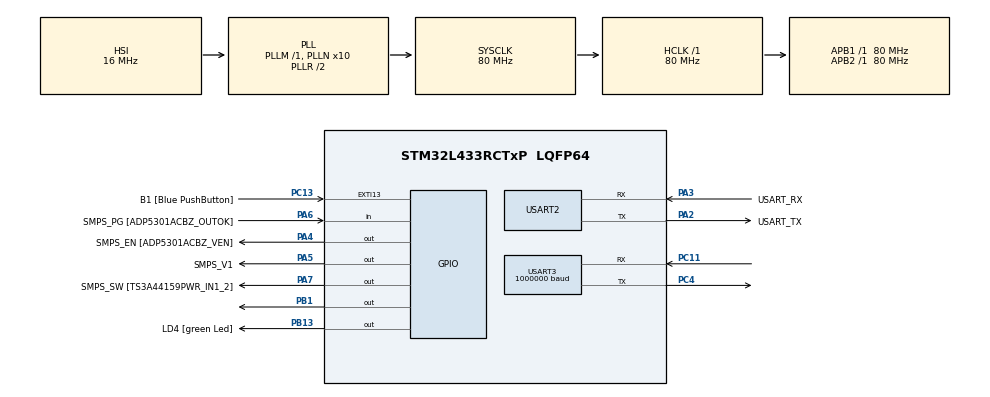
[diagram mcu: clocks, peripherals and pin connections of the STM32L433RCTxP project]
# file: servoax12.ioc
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Mcu.Family=STM32L4
Mcu.Name=STM32L433RCTxP
Mcu.Package=LQFP64
NVIC.PriorityGroup=NVIC_PRIORITYGROUP_4
NVIC.USART2_IRQn=true\:0\:0\:false\:false\:true\:true\:true
NVIC.USART3_IRQn=true\:0\:0\:false\:false\:true\:true\:true
PA13\ (JTMS-SWDIO).GPIO_Label=TMS
PA13\ (JTMS-SWDIO).Mode=Serial_Wire
PA13\ (JTMS-SWDIO).Signal=SYS_JTMS-SWDIO
PA14\ (JTCK-SWCLK).GPIO_Label=TCK
PA14\ (JTCK-SWCLK).Mode=Serial_Wire
PA14\ (JTCK-SWCLK).Signal=SYS_JTCK-SWCLK
PA2.GPIO_Label=USART_TX
PA2.GPIO_Mode=GPIO_MODE_AF_PP
PA2.GPIO_PuPd=GPIO_NOPULL
PA2.GPIO_Speed=GPIO_SPEED_FREQ_VERY_HIGH
PA2.Mode=Asynchronous
PA2.Signal=USART2_TX
PA3.GPIO_Label=USART_RX
PA3.GPIO_Mode=GPIO_MODE_AF_PP
PA3.GPIO_PuPd=GPIO_NOPULL
PA3.GPIO_Speed=GPIO_SPEED_FREQ_VERY_HIGH
PA3.Mode=Asynchronous
PA3.Signal=USART2_RX
PA4.GPIO_Label=SMPS_EN [ADP5301ACBZ_VEN]
PA4.Signal=GPIO_Output
PA5.GPIO_Label=SMPS_V1
PA5.GPIO_ModeDefaultOutputPP=GPIO_MODE_OUTPUT_PP
PA5.GPIO_PuPd=GPIO_NOPULL
PA5.GPIO_Speed=GPIO_SPEED_FREQ_LOW
PA5.Signal=GPIO_Output
PA6.GPIO_Label=SMPS_PG [ADP5301ACBZ_OUTOK]
PA6.GPIO_PuPd=GPIO_PULLUP
PA6.Signal=GPIO_Input
PA7.GPIO_Label=SMPS_SW [TS3A44159PWR_IN1_2]
PA7.Signal=GPIO_Output
PB1.Signal=GPIO_Output
PB13.GPIO_Label=LD4 [green Led]
PB13.Signal=GPIO_Output
PB3\ (JTDO-TRACESWO).GPIO_Label=SWO
PB3\ (JTDO-TRACESWO).Signal=SYS_JTDO-SWO
PC11.Mode=Asynchronous
PC11.Signal=USART3_RX
PC13.GPIO_Label=B1 [Blue PushButton]
PC13.GPIO_ModeDefaultEXTI=GPIO_MODE_IT_FALLING
PC13.GPIO_PuPd=GPIO_NOPULL
PC13.Signal=GPXTI13
PC14-OSC32_IN\ (PC14).Mode=LSE-External-Oscillator
PC14-OSC32_IN\ (PC14).Signal=RCC_OSC32_IN
PC15-OSC32_OUT\ (PC15).Mode=LSE-External-Oscillator
PC15-OSC32_OUT\ (PC15).Signal=RCC_OSC32_OUT
PC4.Mode=Asynchronous
PC4.Signal=USART3_TX
PH0-OSC_IN\ (PH0).GPIO_Label=MCO
PH0-OSC_IN\ (PH0).Mode=HSE-External-Clock-Source
PH0-OSC_IN\ (PH0).Signal=RCC_OSC_IN
PH1-OSC_OUT\ (PH1).Signal=RCC_OSC_OUT
ProjectManager.HeapSize=0x200
ProjectManager.StackSize=0x400
ProjectManager.TargetToolchain=STM32CubeIDE
RCC.ADCFreq_Value=64000000
RCC.AHBFreq_Value=80000000
RCC.APB1Freq_Value=80000000
RCC.APB1TimFreq_Value=80000000
RCC.APB2Freq_Value=80000000
RCC.APB2TimFreq_Value=80000000
RCC.CortexFreq_Value=80000000
RCC.HCLKFreq_Value=80000000
RCC.HSE_VALUE=8000000
RCC.HSI48_VALUE=48000000
RCC.HSI_VALUE=16000000
RCC.MSI_VALUE=4000000
RCC.PLLN=10
RCC.PLLSourceVirtual=RCC_PLLSOURCE_HSI
RCC.PREFETCH_ENABLE=1
RCC.SYSCLKFreq_VALUE=80000000
RCC.SYSCLKSource=RCC_SYSCLKSOURCE_PLLCLK
RCC.USBFreq_Value=64000000
RCC.VCOOutputFreq_Value=160000000
USART2.VirtualMode-Asynchronous=VM_ASYNC
USART3.BaudRate=1000000
USART3.VirtualMode-Asynchronous=VM_ASYNC
board=NUCLEO-L433RC-P

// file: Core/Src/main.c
/* USER CODE BEGIN Header */
/**
  ******************************************************************************
  * @file           : main.c
  * @brief          : Main program body
  ******************************************************************************
  * @attention
  *
  * <h2><center>&copy; Copyright (c) 2021 STMicroelectronics.
  * All rights reserved.</center></h2>
  *
  * This software component is licensed by ST under BSD 3-Clause license,
  * the "License"; You may not use this file except in compliance with the
  * License. You may obtain a copy of the License at:
  *                        opensource.org/licenses/BSD-3-Clause
  *
  ******************************************************************************
  */
/* USER CODE END Header */
#include "main.h"

#define REC_WAIT_START_US    75
#define REC_WAIT_PARAMS_US   (SERVO_MAX_PARAMS * 5)
#define REC_WAIT_MAX_RETRIES 200
#define SERVO_MAX_PARAMS (REC_BUFFER_LEN - 5)

volatile uint8_t receiveBuffer[REC_BUFFER_LEN];
volatile uint8_t* volatile receiveBufferStart = receiveBuffer;
volatile uint8_t* volatile receiveBufferEnd = receiveBuffer;

/* USER CODE BEGIN Includes */
uint8_t Buffer[10];
/* USER CODE END Includes */

UART_HandleTypeDef huart2;
UART_HandleTypeDef huart3;

void SystemClock_Config(void);
static void MX_GPIO_Init(void);
static void MX_USART2_UART_Init(void);
static void MX_USART3_UART_Init(void);
/* USER CODE BEGIN PFP */
size_t getServoBytesAvailable (void);
uint8_t getServoByte (void);
uint8_t getServoAngle ( uint8_t ID,  uint16_t* angleValue);
uint8_t getServoResponse (void);
uint8_t setServoAngle( uint8_t ID,uint8_t angle);
/* USER CODE END PFP */

/* USER CODE BEGIN 0 */
typedef enum ServoCommand
{
    PING = 1,
    READ = 2,
    WRITE = 3
} ServoCommand;

typedef struct ServoResponse
{
    uint8_t id;
    uint8_t length;
    uint8_t error;
    uint8_t params[SERVO_MAX_PARAMS];
    uint8_t checksum;
} ServoResponse;

ServoResponse response;
uint8_t servoErrorCode = 0;
/* USER CODE END 0 */

int main(void)
{
  /* USER CODE BEGIN 1 */
	uint16_t angle=512;
	uint16_t delta=10;
  /* USER CODE END 1 */

  /* MCU Configuration--------------------------------------------------------*/

  /* Reset of all peripherals, Initializes the Flash interface and the Systick. */
  HAL_Init();

  /* Configure the system clock */
  SystemClock_Config();

  /* Initialize all configured peripherals */
  MX_GPIO_Init();
  MX_USART2_UART_Init();
  MX_USART3_UART_Init();
  /* USER CODE BEGIN 2 */
  Buffer[0]='U';

  /* USER CODE END 2 */
 // HAL_StatusTypeDef
//  HAL_UART_Transmit(UART_HandleTypeDef *huart, uint8_t *pData, uint16_t Size, uint32_t Timeout);
//  HAL_UART_Transmit(&huart3, Buffer, 1, 100);

//  HAL_StatusTypeDef HAL_UART_Receive(UART_HandleTypeDef *huart, uint8_t *pData, uint16_t Size, uint32_t Timeout);

  /* Infinite loop */
  /* USER CODE BEGIN WHILE */
//  setAngleLimit(4, 0, 1023);
//  setServoAngle(4, angle);
  reset(4);
  //turn(4, RIGHT,80);
  while (1)
  {
    /* USER CODE END WHILE */
   if (angle>700)
   {
	   angle=700;
	 delta=-5;
   }
   if (angle<200){
	   angle=200;
	   delta=+5;
   }
    /* USER CODE BEGIN 3 */
	  HAL_Delay (20); /* Insert delay 100 ms */
	 // getServoAngle(4, &angle);
	move(2, angle);
	angle+=delta;
	//  setAngleLimit(4, 0, 1023);
	//  readPosition(4);

	// turn(4, RIGHT,00);

  }
  /* USER CODE END 3 */

}

void clearServoReceiveBuffer (void)
{
    receiveBufferStart = receiveBufferEnd;
}

uint8_t getAndCheckResponse (const uint8_t servoId)
{
    if (!getServoResponse())
    {
        #ifdef SERVO_DEBUG
        printf ("Servo error: Servo %d did not respond correctly or at all\n", (int)servoId);
        #endif
        return 0;
    }

    if (response.id != servoId)
    {
        #ifdef SERVO_DEBUG
        printf ("Servo error: Response ID %d does not match command ID %d\n", (int)response.id);
        #endif
        return 0;
    }

    if (response.error != 0)
    {
        #ifdef SERVO_DEBUG
        printf ("Servo error: Response error code was nonzero (%d)\n", (int)response.error);
        #endif
        return 0;
    }

    return 1;
}

uint8_t getServoResponse (void)
{
    uint8_t retries = 0;

    clearServoReceiveBuffer();

    while (getServoBytesAvailable() < 4)
    {
        retries++;
        if (retries > REC_WAIT_MAX_RETRIES)
        {
            #ifdef SERVO_DEBUG
            printf ("Too many retries at start\n");
            #endif
            return 0;
        }

     //   mWaitus (REC_WAIT_START_US);
    }
    retries = 0;

    getServoByte();  // servo header (two 0xff bytes)
    getServoByte();

    response.id = getServoByte();
    response.length = getServoByte();

    if (response.length > SERVO_MAX_PARAMS)
    {
        #ifdef SERVO_DEBUG
        printf ("Response length too big: %d\n", (int)response.length);
        #endif
        return 0;
    }

    while (getServoBytesAvailable() < response.length)
    {
        retries++;
        if (retries > REC_WAIT_MAX_RETRIES)
        {
            #ifdef SERVO_DEBUG
            printf ("Too many retries waiting for params, got %d of %d params\n", getServoBytesAvailable(), response.length);
            #endif
            return 0;
        }

     //   mWaitus (REC_WAIT_PARAMS_US);
    }

    response.error = getServoByte();
    servoErrorCode = response.error;

    for (uint8_t i = 0; i < response.length - 2; i++)
        response.params[i] = getServoByte();

    uint8_t calcChecksum = response.id + response.length + response.error;
    for (uint8_t i = 0; i < response.length - 2; i++)
        calcChecksum += response.params[i];
    calcChecksum = ~calcChecksum;

    const uint8_t recChecksum = getServoByte();
    if (calcChecksum != recChecksum)
    {
        #ifdef SERVO_DEBUG
        printf ("Checksum mismatch: %x calculated, %x received\n", calcChecksum, recChecksum);
        #endif
        return 0;
    }

    return 1;
}

/*--------------------------------------*/

int setAngleLimit(uint8_t ID, uint16_t CWLimit, uint16_t CCWLimit)
{
  const uint8_t length = 8;
		uint8_t packet[length];
		uint8_t Checksum;
    //  uint8_t packet[9];

		uint8_t pdata[8];
		HAL_StatusTypeDef val;

	uint8_t CW_H,CW_L,CCW_H,CCW_L;
    CW_H = CWLimit >> 8;
    CW_L = CWLimit;                // 16 bits - 2 x 8 bits variables
    CCW_H = CCWLimit >> 8;
    CCW_L = CCWLimit;

	Checksum = (~(ID + AX_CCW_CW_LENGTH + AX_WRITE_DATA + AX_CW_ANGLE_LIMIT_L + CW_H + CW_L + AX_CCW_ANGLE_LIMIT_L + CCW_H + CCW_L)) & 0xFF;

	packet[0] = AX_START;
	packet[1] = AX_START;
	packet[2] = ID;
	packet[3] = AX_CCW_CW_LENGTH;
	packet[4] = AX_WRITE_DATA;
	packet[5] = AX_CW_ANGLE_LIMIT_L;
	packet[6] = CW_L;
	packet[7] = CW_H;
	packet[8] = AX_CCW_ANGLE_LIMIT_L;
	packet[9] = CCW_L;
	packet[10] = CCW_H;
	packet[11] = Checksum;

	val=HAL_UART_Receive(&huart3, pdata, 2, 100);
	    //return (sendAXPacket(packet, length));
	    HAL_GPIO_WritePin(GPIOB, GPIO_PIN_1, GPIO_PIN_RESET);//passer en mode transmission
	    HAL_UART_Transmit(&huart3, packet, 12, 100);
	    HAL_GPIO_WritePin(GPIOB, GPIO_PIN_1, GPIO_PIN_SET);
	    val=HAL_UART_Receive(&huart3, pdata, 8, 100);
	    return 1;
}

uint8_t getServoByte (void)
{
    receiveBufferStart++;
    if (receiveBufferStart >= receiveBuffer + REC_BUFFER_LEN)
        receiveBufferStart = receiveBuffer;

    return *receiveBufferStart;

}

size_t getServoBytesAvailable (void)
{
    volatile uint8_t *start = receiveBufferStart;
    volatile uint8_t *end = receiveBufferEnd;

    if (end >= start)
        return (size_t)(end - start);
    else
        return (size_t)(REC_BUFFER_LEN - (start - end));
}

/*---------------------------------------------------------*/
void turn(uint8_t ID, uint8_t SIDE, uint16_t Speed)
{
	uint8_t Checksum;
	uint8_t packet[9];
	HAL_StatusTypeDef val;
	uint8_t pdata[8];
		if (SIDE == LEFT)
		{
			int Speed_H,Speed_L;
			Speed_H = Speed >> 8;
			Speed_L = Speed;                     // 16 bits - 2 x 8 bits variables

			//const unsigned int length = 9;
			//unsigned char packet[length];

			Checksum = (~(ID + AX_SPEED_LENGTH + AX_WRITE_DATA + AX_GOAL_SPEED_L + Speed_L + Speed_H)) & 0xFF;

		    packet[0] = AX_START;
		    packet[1] = AX_START;
		    packet[2] = ID;
		    packet[3] = AX_SPEED_LENGTH;
		    packet[4] = AX_WRITE_DATA;
		    packet[5] = AX_GOAL_SPEED_L;
		    packet[6] = Speed_L;
		    packet[7] = Speed_H;
		    packet[8] = Checksum;

		    //return (sendAXPacket(packet, length));
		}

		else
		{
			char Speed_H,Speed_L;
			Speed_H = (Speed >> 8) + 4;
			Speed_L = Speed;                     // 16 bits - 2 x 8 bits variables

		//	const unsigned int length = 9;

			Checksum = (~(ID + AX_SPEED_LENGTH + AX_WRITE_DATA + AX_GOAL_SPEED_L + Speed_L + Speed_H)) & 0xFF;

		    packet[0] = AX_START;
		    packet[1] = AX_START;
		    packet[2] = ID;
		    packet[3] = AX_SPEED_LENGTH;
		    packet[4] = AX_WRITE_DATA;
		    packet[5] = AX_GOAL_SPEED_L;
		    packet[6] = Speed_L;
		    packet[7] = Speed_H;
		    packet[8] = Checksum;

		    //return (sendAXPacket(packet, length));
		}
		val=HAL_UART_Receive(&huart3, pdata, 2, 100);
		  HAL_GPIO_WritePin(GPIOB, GPIO_PIN_1, GPIO_PIN_RESET);//passer en mode transmission
		  HAL_UART_Transmit(&huart3, packet, 9, 100);
		  HAL_GPIO_WritePin(GPIOB, GPIO_PIN_1, GPIO_PIN_SET); //passer en mode réception
		  val=HAL_UART_Receive(&huart3, pdata, 6, 100);

}

int readPosition(uint8_t ID)
{
	const uint8_t length = 8;
	uint8_t packet[length];
	uint8_t Checksum;
//	uint8_t packet[9];
    uint8_t Position_H,Position_L;
	uint8_t pdata[8];
	HAL_StatusTypeDef val;

    Checksum = (~(ID + AX_POS_LENGTH + AX_READ_DATA + AX_PRESENT_POSITION_L + AX_BYTE_READ_POS)) & 0xFF;

	packet[0] = AX_START;
	packet[1] = AX_START;
	packet[2] = ID;
	packet[3] = AX_POS_LENGTH;
	packet[4] = AX_READ_DATA;
	packet[5] = AX_PRESENT_POSITION_L;
	packet[6] = AX_BYTE_READ_POS;
	packet[7] = Checksum;

    val=HAL_UART_Receive(&huart3, pdata, 2, 100);
    //return (sendAXPacket(packet, length));
    HAL_GPIO_WritePin(GPIOB, GPIO_PIN_1, GPIO_PIN_RESET);//passer en mode transmission
    HAL_UART_Transmit(&huart3, packet, 8, 100);
    HAL_GPIO_WritePin(GPIOB, GPIO_PIN_1, GPIO_PIN_SET);
    val=HAL_UART_Receive(&huart3, pdata, 8, 100);
    return 1;
}

/*----------------------------------------------------------------*/

void move(uint8_t ID, uint16_t Position)
{
	uint8_t Checksum;
	uint8_t packet[9];
    uint8_t Position_H,Position_L;
	uint8_t pdata[8];
	HAL_StatusTypeDef val;

    Position_H = Position >> 8;           // 16 bits - 2 x 8 bits variables
    Position_L = Position;
    //unsigned char packet[length];

	Checksum = (~(ID + AX_GOAL_LENGTH + AX_WRITE_DATA + AX_GOAL_POSITION_L + Position_L + Position_H)) & 0xFF;

    packet[0] = AX_START;
    packet[1] = AX_START;
    packet[2] = ID;
    packet[3] = AX_GOAL_LENGTH;
    packet[4] = AX_WRITE_DATA;
    packet[5] = AX_GOAL_POSITION_L;
    packet[6] = Position_L;
    packet[7] = Position_H;
    packet[8] = Checksum;

    val=HAL_UART_Receive(&huart3, pdata, 2, 100);
    //return (sendAXPacket(packet, length));
    HAL_GPIO_WritePin(GPIOB, GPIO_PIN_1, GPIO_PIN_RESET);//passer en mode transmission
    HAL_UART_Transmit(&huart3, packet, 9, 100);
    HAL_GPIO_WritePin(GPIOB, GPIO_PIN_1, GPIO_PIN_SET);
    val=HAL_UART_Receive(&huart3, pdata, 6, 100);
    return ;
}

/*----------------------------------------------------------------*/

int reset(uint8_t ID)
{
	uint8_t Checksum;
		HAL_StatusTypeDef val;
		uint8_t packet[11];
	    uint8_t Position_H,Position_L,Speed_H,Speed_L;
		uint8_t pdata[6];

	Checksum = (~(ID + AX_RESET_LENGTH + AX_RESET)) & 0xFF;

	packet[0] = AX_START;
	packet[1] = AX_START;
	packet[2] = ID;
	packet[3] = AX_RESET_LENGTH;
	packet[4] = AX_RESET;
	packet[5] = Checksum;

	val=HAL_UART_Receive(&huart3, pdata, 2, 100);
	    //return (sendAXPacket(packet, length));
	    HAL_GPIO_WritePin(GPIOB, GPIO_PIN_1, GPIO_PIN_RESET);//passer en mode transmission
	    HAL_UART_Transmit(&huart3, packet, 8, 100);
	    HAL_GPIO_WritePin(GPIOB, GPIO_PIN_1, GPIO_PIN_SET);
	    val=HAL_UART_Receive(&huart3, pdata, 8, 100);
	    return 1;
}

/*--------------------------------*/

void moveSpeed(uint8_t ID, int Position, int Speed)
{
	uint8_t Checksum;
	HAL_StatusTypeDef val;
	uint8_t packet[11];
    char Position_H,Position_L,Speed_H,Speed_L;
	uint8_t pdata[8];

    Position_H = Position >> 8;           // 16 bits - 2 x 8 bits variables
    Position_L = Position;
    Speed_H = Speed >> 8;           // 16 bits - 2 x 8 bits variables
    Speed_L = Speed;

    //unsigned char packet[length];

	Checksum = (~(ID + AX_GOAL_LENGTH + AX_WRITE_DATA + AX_GOAL_POSITION_L + Position_L + Position_H + Speed_L + Speed_H)) & 0xFF;

    packet[0] = AX_START;
    packet[1] = AX_START;
    packet[2] = ID;
    packet[3] = AX_GOAL_LENGTH;
    packet[4] = AX_WRITE_DATA;
    packet[5] = AX_GOAL_POSITION_L;
    packet[6] = Position_L;
    packet[7] = Position_H;
    packet[8] = Speed_L;
    packet[9] = Speed_H;
    packet[10] = Checksum;

    //return (sendAXPacket(packet, length));
    HAL_GPIO_WritePin(GPIOB, GPIO_PIN_1, GPIO_PIN_RESET);//passer en mode transmission
    HAL_UART_Transmit(&huart3, packet, 9, 100);
    HAL_GPIO_WritePin(GPIOB, GPIO_PIN_1, GPIO_PIN_SET);
    val=HAL_UART_Receive(&huart3, pdata, 6, 100);
}

void changeBaudRate(){
	uint8_t Checksum;
	HAL_StatusTypeDef val;
	uint8_t pdata[8];
//	Checksum = (~(ID +  AX_ACTION + GOAL_ANGLE + lowByte + highByte)) & 0xFF;

  /*  uint8_t params[8] = {AX_START,AX_START,ID,AX_ACTION,GOAL_ANGLE,
                               lowByte,
                               highByte,
							   Checksum};*/
	uint8_t params[11]={0xFF,0xFF,4,7,3,0x1E,0,2,0,2,0xCF};
//	uint8_t params[11]={0xFF,0xFF,4,7,3,0x1A,1,1,0x40,0x40,0x55};
    val=HAL_UART_Receive(&huart3, pdata, 2, 100);
    HAL_GPIO_WritePin(GPIOB, GPIO_PIN_1, GPIO_PIN_RESET);//passer en mode transmission
    HAL_UART_Transmit(&huart3, params, 11, 100);
    HAL_GPIO_WritePin(GPIOB, GPIO_PIN_1, GPIO_PIN_SET);
 //   HAL_StatusTypeDef HAL_UART_Receive(UART_HandleTypeDef *huart, uint8_t *pData, uint16_t Size, uint32_t Timeout)
    val=HAL_UART_Receive(&huart3, pdata, 6, 100);

    return 1;
}

/*----------------------------------------------*/
uint8_t setServoAngle( uint8_t ID,uint8_t angle)
{
	uint8_t Checksum;
	HAL_StatusTypeDef val;
	uint8_t pdata[8];

 //   if (angle < 0 || angle > 300)
 //       return 0;

    // angle values go from 0 to 0x3ff (1023)
    const uint16_t angleValue = (uint16_t)(angle * (1023.0 / 300.0));

    const uint8_t highByte = (uint8_t)((angleValue >> 8) & 0xff);
    const uint8_t lowByte = (uint8_t)(angleValue & 0xff);
	Checksum = (~(ID +  AX_WRITE_DATA +4+ GOAL_ANGLE + lowByte + highByte));

   uint8_t params[9] = {AX_START,AX_START,ID,AX_WRITE_DATA,4,GOAL_ANGLE,
                               lowByte,
                               highByte,
							   Checksum};
//   uint8_t params[9]={0xFF,0xFF,4,5,4,0x1E,0xFF,3,0xD2};
//   >[Dynamixel]:FF FF 01 05 04 1E FF 03 D5 (LEN:009)
//	uint8_t params[11]={0xFF,0xFF,4,7,3,e,0,2,0xCF}; //rotation
//	uint8_t params[11]={0xFF,0xFF,4,7,3,0x1A,1,1,0x40,0x40,0x55};
    val=HAL_UART_Receive(&huart3, pdata, 4, 100);
    HAL_GPIO_WritePin(GPIOB, GPIO_PIN_1, GPIO_PIN_RESET);//passer en mode transmission
    HAL_UART_Transmit(&huart3, params, 9, 100);
    HAL_GPIO_WritePin(GPIOB, GPIO_PIN_1, GPIO_PIN_SET);
 //   HAL_StatusTypeDef HAL_UART_Receive(UART_HandleTypeDef *huart, uint8_t *pData, uint16_t Size, uint32_t Timeout)
    val=HAL_UART_Receive(&huart3, pdata, 6, 100);

    return 1;
}
/*---------------------------------*/
uint8_t getServoAngle ( uint8_t ID,  uint16_t* angleValue)
{
	uint8_t retour;
    const uint8_t params[2] = {CURRENT_ANGLE,
                               4};  // read two bytes, starting at address CURRENT_ANGLE

    HAL_GPIO_WritePin(GPIOB, GPIO_PIN_1, GPIO_PIN_RESET);//passer en mode transmission
    HAL_UART_Transmit(&huart3, params, 2, 100);
    HAL_GPIO_WritePin(GPIOB, GPIO_PIN_1, GPIO_PIN_SET);

    if (!getAndCheckResponse (ID))
    	retour=0;
         return retour;

     //uint16_t
         retour=1;
    *angleValue = response.params[1];
     *angleValue <<= 8;
     *angleValue |= response.params[0];

 //    *angle = (float)angleValue * 300.0 / 1023.0;

/*
    uint16_t angleValue = response.params[1];
    angleValue <<= 8;
    angleValue |= response.params[0];

    *angle = (float)angleValue * 300.0 / 1023.0;
*/
    return retour;
}
/*-------------------------------------------------------------------------------*/
/*void sendAXPacket(uint8_t * packet, unsigned int length)
{
	switchCom(Direction_Pin, TX_MODE); 	// Switch to Transmission  Mode

	sendData(packet, length);			// Send data through sending buffer
	flush(); 							// Wait until buffer is empty

	switchCom(Direction_Pin, RX_MODE); 	// Switch back to Reception Mode

	return (read_error());              // Return the read error
}
*/
/*--------------------------------------------------------------*/
void SystemClock_Config(void)
{
  RCC_OscInitTypeDef RCC_OscInitStruct = {0};
  RCC_ClkInitTypeDef RCC_ClkInitStruct = {0};
  RCC_PeriphCLKInitTypeDef PeriphClkInit = {0};

  /** Initializes the RCC Oscillators according to the specified parameters
  * in the RCC_OscInitTypeDef structure.
  */
  RCC_OscInitStruct.OscillatorType = RCC_OSCILLATORTYPE_HSI;
  RCC_OscInitStruct.HSIState = RCC_HSI_ON;
  RCC_OscInitStruct.HSICalibrationValue = RCC_HSICALIBRATION_DEFAULT;
  RCC_OscInitStruct.PLL.PLLState = RCC_PLL_ON;
  RCC_OscInitStruct.PLL.PLLSource = RCC_PLLSOURCE_HSI;
  RCC_OscInitStruct.PLL.PLLM = 1;
  RCC_OscInitStruct.PLL.PLLN = 10;
  RCC_OscInitStruct.PLL.PLLP = RCC_PLLP_DIV7;
  RCC_OscInitStruct.PLL.PLLQ = RCC_PLLQ_DIV2;
  RCC_OscInitStruct.PLL.PLLR = RCC_PLLR_DIV2;
  if (HAL_RCC_OscConfig(&RCC_OscInitStruct) != HAL_OK)
  {
    Error_Handler();
  }
  /** Initializes the CPU, AHB and APB buses clocks
  */
  RCC_ClkInitStruct.ClockType = RCC_CLOCKTYPE_HCLK|RCC_CLOCKTYPE_SYSCLK
                              |RCC_CLOCKTYPE_PCLK1|RCC_CLOCKTYPE_PCLK2;
  RCC_ClkInitStruct.SYSCLKSource = RCC_SYSCLKSOURCE_PLLCLK;
  RCC_ClkInitStruct.AHBCLKDivider = RCC_SYSCLK_DIV1;
  RCC_ClkInitStruct.APB1CLKDivider = RCC_HCLK_DIV1;
  RCC_ClkInitStruct.APB2CLKDivider = RCC_HCLK_DIV1;

  if (HAL_RCC_ClockConfig(&RCC_ClkInitStruct, FLASH_LATENCY_4) != HAL_OK)
  {
    Error_Handler();
  }
  PeriphClkInit.PeriphClockSelection = RCC_PERIPHCLK_USART2|RCC_PERIPHCLK_USART3;
  PeriphClkInit.Usart2ClockSelection = RCC_USART2CLKSOURCE_PCLK1;
  PeriphClkInit.Usart3ClockSelection = RCC_USART3CLKSOURCE_PCLK1;
  if (HAL_RCCEx_PeriphCLKConfig(&PeriphClkInit) != HAL_OK)
  {
    Error_Handler();
  }
  /** Configure the main internal regulator output voltage
  */
  if (HAL_PWREx_ControlVoltageScaling(PWR_REGULATOR_VOLTAGE_SCALE1) != HAL_OK)
  {
    Error_Handler();
  }
}

static void MX_USART2_UART_Init(void)
{

  huart2.Instance = USART2;
  huart2.Init.BaudRate = 115200;
  huart2.Init.WordLength = UART_WORDLENGTH_8B;
  huart2.Init.StopBits = UART_STOPBITS_1;
  huart2.Init.Parity = UART_PARITY_NONE;
  huart2.Init.Mode = UART_MODE_TX_RX;
  huart2.Init.HwFlowCtl = UART_HWCONTROL_NONE;
  huart2.Init.OverSampling = UART_OVERSAMPLING_16;
  huart2.Init.OneBitSampling = UART_ONE_BIT_SAMPLE_DISABLE;
  huart2.AdvancedInit.AdvFeatureInit = UART_ADVFEATURE_NO_INIT;
  if (HAL_UART_Init(&huart2) != HAL_OK)
  {
    Error_Handler();
  }

}

static void MX_USART3_UART_Init(void)
{

  huart3.Instance = USART3;
  huart3.Init.BaudRate = 912000;
  huart3.Init.WordLength = UART_WORDLENGTH_8B;
  huart3.Init.StopBits = UART_STOPBITS_1;
  huart3.Init.Parity = UART_PARITY_NONE;
  huart3.Init.Mode = UART_MODE_TX_RX;
  huart3.Init.HwFlowCtl = UART_HWCONTROL_NONE;
  huart3.Init.OverSampling = UART_OVERSAMPLING_16;
  huart3.Init.OneBitSampling = UART_ONE_BIT_SAMPLE_DISABLE;
  huart3.AdvancedInit.AdvFeatureInit = UART_ADVFEATURE_NO_INIT;
  if (HAL_UART_Init(&huart3) != HAL_OK)
  {
    Error_Handler();
  }
  /* USER CODE BEGIN USART3_Init 2 */
//  USART3->CR1|=1<<5;
//  HAL_UART_MspInit(&huart3);
  /* USER CODE END USART3_Init 2 */

}

static void MX_GPIO_Init(void)
{
  GPIO_InitTypeDef GPIO_InitStruct = {0};

  /* GPIO Ports Clock Enable */
  __HAL_RCC_GPIOC_CLK_ENABLE();
  __HAL_RCC_GPIOH_CLK_ENABLE();
  __HAL_RCC_GPIOA_CLK_ENABLE();
  __HAL_RCC_GPIOB_CLK_ENABLE();

  /*Configure GPIO pin Output Level */
  HAL_GPIO_WritePin(GPIOA, SMPS_EN_Pin|SMPS_V1_Pin|SMPS_SW_Pin, GPIO_PIN_RESET);

  /*Configure GPIO pin Output Level */
  HAL_GPIO_WritePin(GPIOB, GPIO_PIN_1|LD4_Pin, GPIO_PIN_RESET);

  /*Configure GPIO pin : B1_Pin */
  GPIO_InitStruct.Pin = B1_Pin;
  GPIO_InitStruct.Mode = GPIO_MODE_IT_FALLING;
  GPIO_InitStruct.Pull = GPIO_NOPULL;
  HAL_GPIO_Init(B1_GPIO_Port, &GPIO_InitStruct);

  /*Configure GPIO pins : SMPS_EN_Pin SMPS_V1_Pin SMPS_SW_Pin */
  GPIO_InitStruct.Pin = SMPS_EN_Pin|SMPS_V1_Pin|SMPS_SW_Pin;
  GPIO_InitStruct.Mode = GPIO_MODE_OUTPUT_PP;
  GPIO_InitStruct.Pull = GPIO_NOPULL;
  GPIO_InitStruct.Speed = GPIO_SPEED_FREQ_LOW;
  HAL_GPIO_Init(GPIOA, &GPIO_InitStruct);

  /*Configure GPIO pin : SMPS_PG_Pin */
  GPIO_InitStruct.Pin = SMPS_PG_Pin;
  GPIO_InitStruct.Mode = GPIO_MODE_INPUT;
  GPIO_InitStruct.Pull = GPIO_PULLUP;
  HAL_GPIO_Init(SMPS_PG_GPIO_Port, &GPIO_InitStruct);

  /*Configure GPIO pins : PB1 LD4_Pin */
  GPIO_InitStruct.Pin = GPIO_PIN_1|LD4_Pin;
  GPIO_InitStruct.Mode = GPIO_MODE_OUTPUT_PP;
  GPIO_InitStruct.Pull = GPIO_NOPULL;
  GPIO_InitStruct.Speed = GPIO_SPEED_FREQ_LOW;
  HAL_GPIO_Init(GPIOB, &GPIO_InitStruct);

}

void Error_Handler(void)
{
}

/************************ (C) COPYRIGHT STMicroelectronics *****END OF FILE****/
